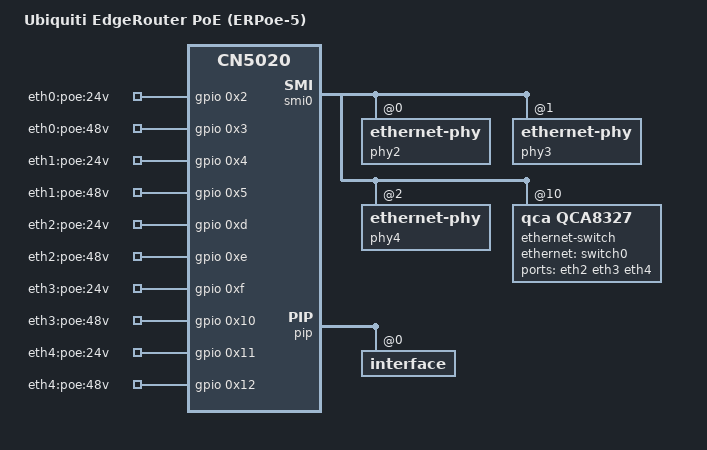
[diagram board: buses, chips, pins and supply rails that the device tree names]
// SPDX-License-Identifier: GPL-2.0-only
/*
 * Device tree source for Ubiquiti EdgeRouter PoE
 */

#include "cn5020_ubnt_e100.dtsi"
#include <dt-bindings/gpio/gpio.h>

/ {
	/* E101 */
	compatible = "ubnt,erpoe-5", "ubnt,e100", "cavium,cn5020";
	model = "Ubiquiti EdgeRouter PoE (ERPoe-5)";

	gpios: gpio-export {
		compatible = "gpio-export";

		eth0-poe-24v {
			gpio-export,name = "eth0:poe:24v";
			gpio-export,output = <0>;
			gpios = <&gpio 0x2 GPIO_ACTIVE_HIGH>;
		};

		eth0-poe-48v {
			gpio-export,name = "eth0:poe:48v";
			gpio-export,output = <0>;
			gpios = <&gpio 0x3 GPIO_ACTIVE_HIGH>;
		};

		eth1-poe-24v {
			gpio-export,name = "eth1:poe:24v";
			gpio-export,output = <0>;
			gpios = <&gpio 0x4 GPIO_ACTIVE_HIGH>;
		};

		eth1-poe-48v {
			gpio-export,name = "eth1:poe:48v";
			gpio-export,output = <0>;
			gpios = <&gpio 0x5 GPIO_ACTIVE_HIGH>;
		};

		eth2-poe-24v {
			gpio-export,name = "eth2:poe:24v";
			gpio-export,output = <0>;
			gpios = <&gpio 0xd GPIO_ACTIVE_HIGH>;
		};

		eth2-poe-48v {
			gpio-export,name = "eth2:poe:48v";
			gpio-export,output = <0>;
			gpios = <&gpio 0xe GPIO_ACTIVE_HIGH>;
		};

		eth3-poe-24v {
			gpio-export,name = "eth3:poe:24v";
			gpio-export,output = <0>;
			gpios = <&gpio 0xf GPIO_ACTIVE_HIGH>;
		};

		eth3-poe-48v {
			gpio-export,name = "eth3:poe:48v";
			gpio-export,output = <0>;
			gpios = <&gpio 0x10 GPIO_ACTIVE_HIGH>;
		};

		eth4-poe-24v {
			gpio-export,name = "eth4:poe:24v";
			gpio-export,output = <0>;
			gpios = <&gpio 0x11 GPIO_ACTIVE_HIGH>;
		};

		eth4-poe-48v {
			gpio-export,name = "eth4:poe:48v";
			gpio-export,output = <0>;
			gpios = <&gpio 0x12 GPIO_ACTIVE_HIGH>;
		};
	};
};

&flash0 {
	compatible = "Macronix,mx29lv640e", "cfi-flash";
	reg = <0 0 0x800000>;

	partitions {
		partition@100000 {
			/* 64k EEPROM */
			reg = <0x100000 0x10000>;
		};

		partition@7fc000 {
			reg = <0x7fc000 0x2000>;
			label = "u-boot_gd";
			read-only;
		};

		partition@7fe000 {
			reg = <0x7fe000 0x2000>;
			compatible = "u-boot,env";
			label = "u-boot_env";
		};
	};
};

&smi0 {
	phy2: ethernet-phy@0 {
		reg = <0>;
	};

	phy3: ethernet-phy@1 {
		reg = <1>;
	};

	phy4: ethernet-phy@2 {
		reg = <2>;
	};

	ethernet-switch@10 {
		reg = <0x10>;
		compatible = "qca,qca8327";

		ports {
			#address-cells = <1>;
			#size-cells = <0>;

			sw0phy: port@0 {
				reg = <0>;
				ethernet = <&switch0>;

				phy-mode = "rgmii-rxid";
				rx-internal-delay-ps = <1000>;

				fixed-link {
					speed = <1000>;
					full-duplex;
				};
			};

			eth2: port@1 {
				reg = <1>;

				phy-handle = <&phy2>;

				label = "eth2";
				nvmem-cells = <&macaddr_eeprom_0 2>;
				nvmem-cell-names = "mac-address";
			};

			eth3: port@2 {
				reg = <2>;

				phy-handle = <&phy3>;

				label = "eth3";
				nvmem-cells = <&macaddr_eeprom_0 3>;
				nvmem-cell-names = "mac-address";
			};

			eth4: port@3 {
				reg = <3>;

				phy-handle = <&phy4>;

				label = "eth4";
				nvmem-cells = <&macaddr_eeprom_0 4>;
				nvmem-cell-names = "mac-address";
			};
		};
	};
};

&pip {
	interface@0 {
		switch0: ethernet@2 {
			reg = <0x2>;

			phy-handle = <&sw0phy>;
			rx-delay = <0>;
			tx-delay = <0x10>;

			label = "switch0";

			fixed-link {
				speed = <1000>;
				full-duplex;
			};
		};
	};
};
